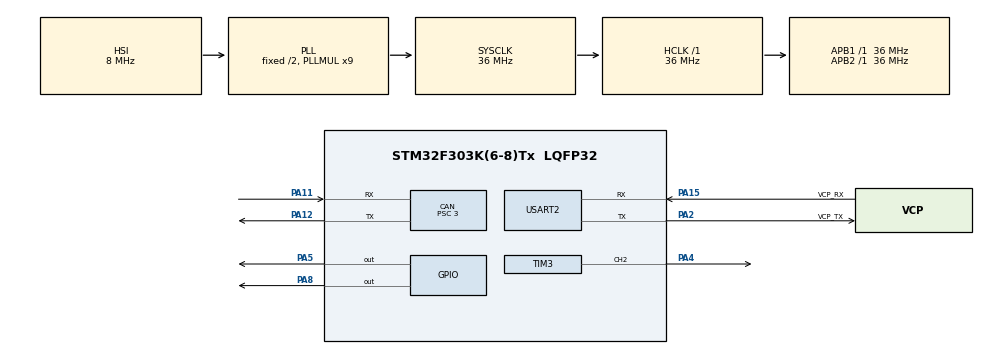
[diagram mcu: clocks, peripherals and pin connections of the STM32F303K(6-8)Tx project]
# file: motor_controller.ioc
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CAN.BS1=CAN_BS1_9TQ
CAN.BS2=CAN_BS2_2TQ
CAN.CalculateBaudRate=999999
CAN.CalculateTimeBit=1000
CAN.CalculateTimeQuantum=83.33333333333334
CAN.Prescaler=3
Mcu.Family=STM32F3
Mcu.Name=STM32F303K(6-8)Tx
Mcu.Package=LQFP32
NVIC.CAN_RX0_IRQn=true\:0\:0\:false\:false\:true\:true\:true\:true
NVIC.CAN_RX1_IRQn=true\:0\:0\:false\:false\:true\:true\:true\:true
NVIC.PriorityGroup=NVIC_PRIORITYGROUP_4
PA11.Mode=CAN_Activate
PA11.Signal=CAN_RX
PA12.Mode=CAN_Activate
PA12.Signal=CAN_TX
PA13.GPIO_Label=SWDIO
PA13.Mode=Serial_Wire
PA13.Signal=SYS_JTMS-SWDIO
PA14.GPIO_Label=SWCLK
PA14.Mode=Serial_Wire
PA14.Signal=SYS_JTCK-SWCLK
PA15.GPIO_Label=VCP_RX
PA15.Mode=Asynchronous
PA15.Signal=USART2_RX
PA2.GPIO_Label=VCP_TX
PA2.Mode=Asynchronous
PA2.Signal=USART2_TX
PA4.Signal=S_TIM3_CH2
PA5.Signal=GPIO_Output
PA8.Signal=GPIO_Output
PF0\ /\ OSC_IN.GPIO_Label=MCO
PF0\ /\ OSC_IN.Mode=HSE-External-Clock-Source
PF0\ /\ OSC_IN.Signal=RCC_OSC_IN
ProjectManager.HeapSize=0x200
ProjectManager.StackSize=0x400
ProjectManager.TargetToolchain=EWARM V8.32
RCC.AHBFreq_Value=36000000
RCC.APB1Freq_Value=36000000
RCC.APB1TimFreq_Value=36000000
RCC.APB2Freq_Value=36000000
RCC.APB2TimFreq_Value=36000000
RCC.CortexFreq_Value=36000000
RCC.HCLKFreq_Value=36000000
RCC.HSE_VALUE=8000000
RCC.HSI_VALUE=8000000
RCC.PLLMUL=RCC_PLL_MUL9
RCC.SYSCLKFreq_VALUE=36000000
RCC.SYSCLKSourceVirtual=RCC_SYSCLKSOURCE_PLLCLK
SH.S_TIM3_CH2.0=TIM3_CH2,PWM Generation2 CH2
TIM3.Channel-PWM\ Generation2\ CH2=TIM_CHANNEL_2
TIM3.Period=1799
USART2.VirtualMode-Asynchronous=VM_ASYNC
VP_TIM3_VS_ClockSourceINT.Mode=Internal
board=NUCLEO-F303K8

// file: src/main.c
/* USER CODE BEGIN Header */
/**
 ******************************************************************************
 * @file           : main.c
 * @brief          : Main program body
 ******************************************************************************
 * @attention
 *
 * Copyright (c) 2025 STMicroelectronics.
 * All rights reserved.
 *
 * This software is licensed under terms that can be found in the LICENSE file
 * in the root directory of this software component.
 * If no LICENSE file comes with this software, it is provided AS-IS.
 *
 ******************************************************************************
 */
/* USER CODE END Header */
#include "main.h"

/* USER CODE BEGIN Includes */
#include "stdio.h"
/* USER CODE END Includes */

CAN_HandleTypeDef hcan;

TIM_HandleTypeDef htim3;

UART_HandleTypeDef huart2;

/* USER CODE BEGIN PV */
CAN_RxHeaderTypeDef RxHeader;
uint8_t RxData[8];
/* USER CODE END PV */

void SystemClock_Config(void);
static void MX_GPIO_Init(void);
static void MX_USART2_UART_Init(void);
static void MX_CAN_Init(void);
static void MX_TIM3_Init(void);

int main(void)
{

  /* MCU Configuration--------------------------------------------------------*/

  /* Reset of all peripherals, Initializes the Flash interface and the Systick. */
  HAL_Init();

  /* Configure the system clock */
  SystemClock_Config();

  /* Initialize all configured peripherals */
  MX_GPIO_Init();
  MX_USART2_UART_Init();
  MX_CAN_Init();
  MX_TIM3_Init();
  /* USER CODE BEGIN 2 */
  HAL_CAN_Start(&hcan);                                             // CANスタート
  HAL_CAN_ActivateNotification(&hcan, CAN_IT_RX_FIFO0_MSG_PENDING); // 割り込み有効化
  /* USER CODE END 2 */

  /* Infinite loop */
  while (1)
  {

    /* USER CODE BEGIN 3 */
    // printf("UART OK\r\n");
    // HAL_Delay(1000);
  }
  /* USER CODE END 3 */
}

void SystemClock_Config(void)
{
  RCC_OscInitTypeDef RCC_OscInitStruct = {0};
  RCC_ClkInitTypeDef RCC_ClkInitStruct = {0};

  /** Initializes the RCC Oscillators according to the specified parameters
   * in the RCC_OscInitTypeDef structure.
   */
  RCC_OscInitStruct.OscillatorType = RCC_OSCILLATORTYPE_HSI;
  RCC_OscInitStruct.HSIState = RCC_HSI_ON;
  RCC_OscInitStruct.HSICalibrationValue = RCC_HSICALIBRATION_DEFAULT;
  RCC_OscInitStruct.PLL.PLLState = RCC_PLL_ON;
  RCC_OscInitStruct.PLL.PLLSource = RCC_PLLSOURCE_HSI;
  RCC_OscInitStruct.PLL.PLLMUL = RCC_PLL_MUL9;
  if (HAL_RCC_OscConfig(&RCC_OscInitStruct) != HAL_OK)
  {
    Error_Handler();
  }

  /** Initializes the CPU, AHB and APB buses clocks
   */
  RCC_ClkInitStruct.ClockType = RCC_CLOCKTYPE_HCLK | RCC_CLOCKTYPE_SYSCLK | RCC_CLOCKTYPE_PCLK1 | RCC_CLOCKTYPE_PCLK2;
  RCC_ClkInitStruct.SYSCLKSource = RCC_SYSCLKSOURCE_PLLCLK;
  RCC_ClkInitStruct.AHBCLKDivider = RCC_SYSCLK_DIV1;
  RCC_ClkInitStruct.APB1CLKDivider = RCC_HCLK_DIV1;
  RCC_ClkInitStruct.APB2CLKDivider = RCC_HCLK_DIV1;

  if (HAL_RCC_ClockConfig(&RCC_ClkInitStruct, FLASH_LATENCY_1) != HAL_OK)
  {
    Error_Handler();
  }
}

static void MX_CAN_Init(void)
{

  hcan.Instance = CAN;
  hcan.Init.Prescaler = 3;
  hcan.Init.Mode = CAN_MODE_NORMAL;
  hcan.Init.SyncJumpWidth = CAN_SJW_1TQ;
  hcan.Init.TimeSeg1 = CAN_BS1_9TQ;
  hcan.Init.TimeSeg2 = CAN_BS2_2TQ;
  hcan.Init.TimeTriggeredMode = DISABLE;
  hcan.Init.AutoBusOff = DISABLE;
  hcan.Init.AutoWakeUp = DISABLE;
  hcan.Init.AutoRetransmission = DISABLE;
  hcan.Init.ReceiveFifoLocked = DISABLE;
  hcan.Init.TransmitFifoPriority = DISABLE;
  if (HAL_CAN_Init(&hcan) != HAL_OK)
  {
    Error_Handler();
  }
  /* USER CODE BEGIN CAN_Init 2 */
  CAN_FilterTypeDef filter;
  filter.FilterIdHigh = 0x000;
  filter.FilterIdLow = 0x000;
  filter.FilterMaskIdHigh = 0x000;
  filter.FilterMaskIdLow = 0x000;
  filter.FilterScale = CAN_FILTERSCALE_32BIT;
  filter.FilterMode = CAN_FILTERMODE_IDMASK;
  filter.FilterFIFOAssignment = CAN_FILTER_FIFO0;
  filter.FilterBank = 0;
  filter.FilterActivation = ENABLE;
  filter.SlaveStartFilterBank = 14;

  HAL_CAN_ConfigFilter(&hcan, &filter);
  /* USER CODE END CAN_Init 2 */
}

static void MX_TIM3_Init(void)
{

  TIM_ClockConfigTypeDef sClockSourceConfig = {0};
  TIM_MasterConfigTypeDef sMasterConfig = {0};
  TIM_OC_InitTypeDef sConfigOC = {0};

  htim3.Instance = TIM3;
  htim3.Init.Prescaler = 0;
  htim3.Init.CounterMode = TIM_COUNTERMODE_UP;
  htim3.Init.Period = 1799;
  htim3.Init.ClockDivision = TIM_CLOCKDIVISION_DIV1;
  htim3.Init.AutoReloadPreload = TIM_AUTORELOAD_PRELOAD_DISABLE;
  if (HAL_TIM_Base_Init(&htim3) != HAL_OK)
  {
    Error_Handler();
  }
  sClockSourceConfig.ClockSource = TIM_CLOCKSOURCE_INTERNAL;
  if (HAL_TIM_ConfigClockSource(&htim3, &sClockSourceConfig) != HAL_OK)
  {
    Error_Handler();
  }
  if (HAL_TIM_PWM_Init(&htim3) != HAL_OK)
  {
    Error_Handler();
  }
  sMasterConfig.MasterOutputTrigger = TIM_TRGO_RESET;
  sMasterConfig.MasterSlaveMode = TIM_MASTERSLAVEMODE_DISABLE;
  if (HAL_TIMEx_MasterConfigSynchronization(&htim3, &sMasterConfig) != HAL_OK)
  {
    Error_Handler();
  }
  sConfigOC.OCMode = TIM_OCMODE_PWM1;
  sConfigOC.Pulse = 0;
  sConfigOC.OCPolarity = TIM_OCPOLARITY_HIGH;
  sConfigOC.OCFastMode = TIM_OCFAST_DISABLE;
  if (HAL_TIM_PWM_ConfigChannel(&htim3, &sConfigOC, TIM_CHANNEL_2) != HAL_OK)
  {
    Error_Handler();
  }
  HAL_TIM_MspPostInit(&htim3);
}

static void MX_USART2_UART_Init(void)
{

  huart2.Instance = USART2;
  huart2.Init.BaudRate = 38400;
  huart2.Init.WordLength = UART_WORDLENGTH_8B;
  huart2.Init.StopBits = UART_STOPBITS_1;
  huart2.Init.Parity = UART_PARITY_NONE;
  huart2.Init.Mode = UART_MODE_TX_RX;
  huart2.Init.HwFlowCtl = UART_HWCONTROL_NONE;
  huart2.Init.OverSampling = UART_OVERSAMPLING_16;
  huart2.Init.OneBitSampling = UART_ONE_BIT_SAMPLE_DISABLE;
  huart2.AdvancedInit.AdvFeatureInit = UART_ADVFEATURE_NO_INIT;
  if (HAL_UART_Init(&huart2) != HAL_OK)
  {
    Error_Handler();
  }
}

static void MX_GPIO_Init(void)
{
  GPIO_InitTypeDef GPIO_InitStruct = {0};

  /* GPIO Ports Clock Enable */
  __HAL_RCC_GPIOF_CLK_ENABLE();
  __HAL_RCC_GPIOA_CLK_ENABLE();

  /*Configure GPIO pin Output Level */
  HAL_GPIO_WritePin(GPIOA, GPIO_PIN_5 | GPIO_PIN_8, GPIO_PIN_RESET);

  /*Configure GPIO pins : PA5 PA8 */
  GPIO_InitStruct.Pin = GPIO_PIN_5 | GPIO_PIN_8;
  GPIO_InitStruct.Mode = GPIO_MODE_OUTPUT_PP;
  GPIO_InitStruct.Pull = GPIO_NOPULL;
  GPIO_InitStruct.Speed = GPIO_SPEED_FREQ_LOW;
  HAL_GPIO_Init(GPIOA, &GPIO_InitStruct);

}

/* USER CODE BEGIN 4 */
/* 受信割り込みハンドラ */
void HAL_CAN_RxFifo0MsgPendingCallback(CAN_HandleTypeDef *hcan)
{
  CAN_RxHeaderTypeDef RxHeader;
  if (HAL_CAN_GetRxMessage(hcan, CAN_RX_FIFO0, &RxHeader, RxData) == HAL_OK)
  {
    printf("Received\r\n");
    if (RxHeader.StdId == 0x321 && RxHeader.IDE == CAN_ID_STD)
    {
      if (RxData[0] == 0x01)
      {
        printf("Received: CW\r\n");
      }
      else if (RxData[0] == 0x02)
      {
        printf("Received: CCW\r\n");
      }
      else
      {
        printf("Received: Unknown Data 0x%02X\r\n", RxData[0]);
      }
    }
    else
    {
      printf("Received: Unexpected ID=0x%03lX\r\n", RxHeader.StdId);
    }
  }
  else
  {
    printf("Failed\r\n");
  }
}
/* USER CODE END 4 */

void Error_Handler(void)
{
  __disable_irq();
  while (1)
  {
  }
}
